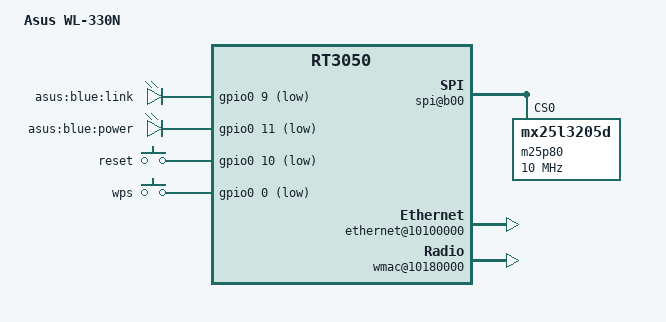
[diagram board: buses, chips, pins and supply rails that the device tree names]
/dts-v1/;

/include/ "rt3050.dtsi"

/ {
	#address-cells = <1>;
	#size-cells = <1>;
	compatible = "WL_330N", "ralink,rt3050-soc";
	model = "Asus WL-330N";

	memorydetect {
		ralink,memory = <0x0 0x200000 0x4000000>;
	};

	chosen {
		bootargs = "console=ttyS0,57600 mtdparts=spi0.0:192k(u-boot)ro,64k(u-boot-env)ro,64k(factory)ro,3776k@0x50000(firmware)";
	};

	palmbus@10000000 {
		sysc@0 {
			ralink,pinmmux = "i2c", "spi", "uartlite", "jtag", "mdio", "sdram", "rgmii";
			ralink,uartmux = "gpio";
			ralink,wdtmux = <1>;
		};

		gpio0: gpio@600 {
			status = "okay";
		};

		spi@b00 {
			status = "okay";
			m25p80@0 {
				#address-cells = <1>;
				#size-cells = <1>;
				compatible = "mx25l3205d";
				reg = <0 0>;
				linux,modalias = "m25p80", "mx25l3205d";
				spi-max-frequency = <10000000>;
			};
		};
	};

	ethernet@10100000 {
		status = "okay";
	};

	esw@10110000 {
		status = "okay";
		ralink,portmap = <0x3e>;
	};

	gpio-leds {
		compatible = "gpio-leds";
		link {
			label = "asus:blue:link";
			gpios = <&gpio0 9 1>;
		};
		power {
			label = "asus:blue:power";
			gpios = <&gpio0 11 1>;
		};
	};

	gpio-keys-polled {
		compatible = "gpio-keys-polled";
		#address-cells = <1>;
		#size-cells = <0>;
		poll-interval = <20>;
		reset {
			label = "reset";
			gpios = <&gpio0 10 1>;
			linux,code = <0x198>;
		};
		wps {
			label = "wps";
			gpios = <&gpio0 0 1>;
			linux,code = <0x198>;
		};
	};

	wmac@10180000 {
		status = "okay";
	};
};
